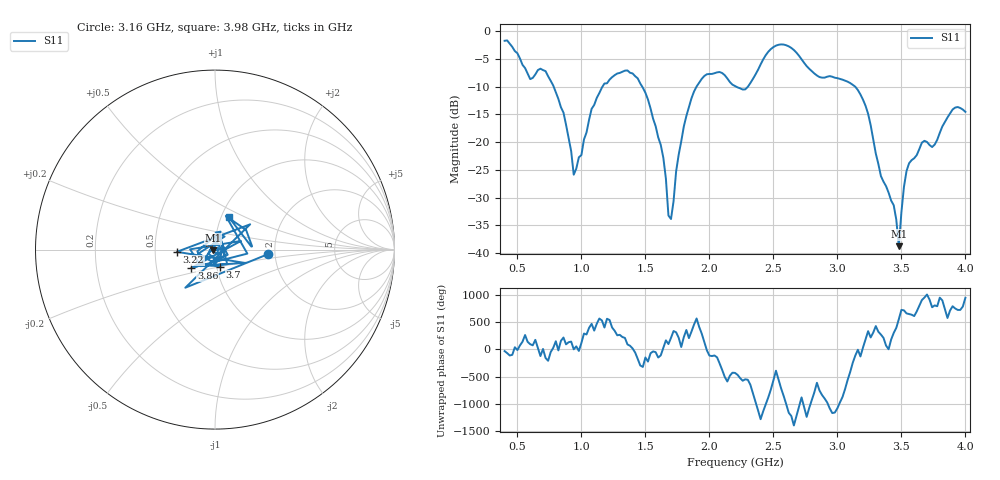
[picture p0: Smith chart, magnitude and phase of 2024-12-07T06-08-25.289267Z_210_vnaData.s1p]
!Created with skrf (http://scikit-rf.org).
# Hz S RI R 50.0
!freq ReS11 ImS11
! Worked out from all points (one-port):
!   181 points, 400 MHz to 4 GHz, reference 50 ohm
!   lowest |S11| = -38.8 dB at 3.48 GHz (marker M1), VSWR 1.02, Z = 48.9 - j0.299 ohm
!   |S11| at or under -10 dB: 783.6 MHz to 1.164 GHz (380.7 MHz wide, 39.1 % of centre); 1.475 GHz to 1.899 GHz (423.6 MHz wide, 25.1 % of centre); 3.14 GHz to end of sweep (the widest 3 of 4)
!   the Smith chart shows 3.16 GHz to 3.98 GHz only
!   S11 on the Smith chart (normalised r, x): 3.16 GHz: 1.83, -0.10; 3.22 GHz: 0.65, -0.02; 3.7 GHz: 1.04, -0.20; 3.86 GHz: 0.75, -0.16; 3.98 GHz: 1.09, +0.41
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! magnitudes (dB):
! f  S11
! 400 MHz  -1.7
! 600 MHz  -8.6
! 720 MHz  -7.2
! 860 MHz  -14.7
! 940 MHz  -25.9
! 1.08 GHz  -14.0
! 1.3 GHz  -7.5
! 1.52 GHz  -12.3
! 1.64 GHz  -22.8
! 1.68 GHz  -33.3
! 1.7 GHz  -33.9
! 1.76 GHz  -22.3
! 1.94 GHz  -8.6
! 2.2 GHz  -9.9
! 2.5 GHz  -2.8
! 2.66 GHz  -3.4
! 3.1 GHz  -9.3
! 3.16 GHz  -10.6
! 3.22 GHz  -13.4
! 3.34 GHz  -26.1
! 3.44 GHz  -31.4
! 3.48 GHz  -38.8
! 3.52 GHz  -28.1
! 3.56 GHz  -23.8
! 3.7 GHz  -20.0
! 3.86 GHz  -15.6
! 3.98 GHz  -14.1
! 4 GHz  -14.5
